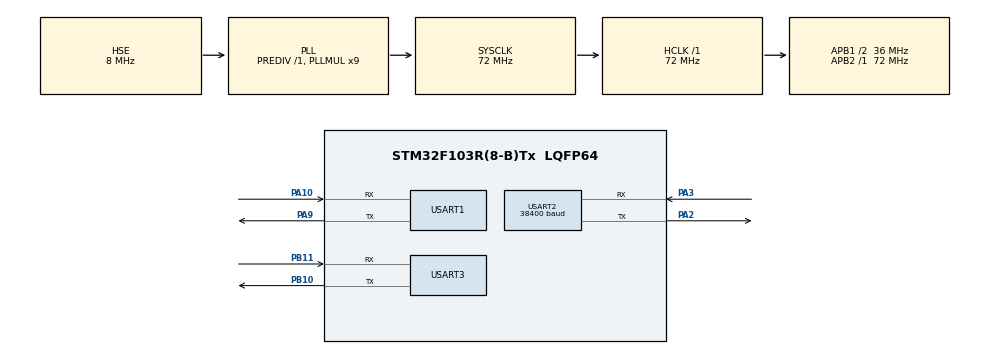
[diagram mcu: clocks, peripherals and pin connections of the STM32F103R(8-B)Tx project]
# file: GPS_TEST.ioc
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Dma.Request0=USART2_RX
Dma.Request1=USART3_RX
Dma.USART2_RX.0.Direction=DMA_PERIPH_TO_MEMORY
Dma.USART2_RX.0.Instance=DMA1_Channel6
Dma.USART2_RX.0.MemDataAlignment=DMA_MDATAALIGN_BYTE
Dma.USART2_RX.0.MemInc=DMA_MINC_ENABLE
Dma.USART2_RX.0.Mode=DMA_NORMAL
Dma.USART2_RX.0.PeriphDataAlignment=DMA_PDATAALIGN_BYTE
Dma.USART2_RX.0.PeriphInc=DMA_PINC_DISABLE
Dma.USART2_RX.0.Priority=DMA_PRIORITY_MEDIUM
Dma.USART3_RX.1.Direction=DMA_PERIPH_TO_MEMORY
Dma.USART3_RX.1.Instance=DMA1_Channel3
Dma.USART3_RX.1.MemDataAlignment=DMA_MDATAALIGN_BYTE
Dma.USART3_RX.1.MemInc=DMA_MINC_ENABLE
Dma.USART3_RX.1.Mode=DMA_NORMAL
Dma.USART3_RX.1.PeriphDataAlignment=DMA_PDATAALIGN_BYTE
Dma.USART3_RX.1.PeriphInc=DMA_PINC_DISABLE
Dma.USART3_RX.1.Priority=DMA_PRIORITY_MEDIUM
Mcu.Family=STM32F1
Mcu.Name=STM32F103R(8-B)Tx
Mcu.Package=LQFP64
NVIC.DMA1_Channel3_IRQn=true\:0\:1\:false\:false\:true\:false\:true\:true
NVIC.DMA1_Channel6_IRQn=true\:0\:2\:true\:false\:true\:false\:true\:true
NVIC.PriorityGroup=NVIC_PRIORITYGROUP_2
NVIC.USART2_IRQn=true\:1\:2\:true\:false\:true\:true\:true\:true
NVIC.USART3_IRQn=true\:1\:1\:true\:false\:true\:true\:true\:true
PA10.Mode=Asynchronous
PA10.Signal=USART1_RX
PA13.Mode=Serial_Wire
PA13.Signal=SYS_JTMS-SWDIO
PA14.Mode=Serial_Wire
PA14.Signal=SYS_JTCK-SWCLK
PA2.Mode=Asynchronous
PA2.Signal=USART2_TX
PA3.Mode=Asynchronous
PA3.Signal=USART2_RX
PA9.Mode=Asynchronous
PA9.Signal=USART1_TX
PB10.Mode=Asynchronous
PB10.Signal=USART3_TX
PB11.Mode=Asynchronous
PB11.Signal=USART3_RX
PD0-OSC_IN.Mode=HSE-External-Oscillator
PD0-OSC_IN.Signal=RCC_OSC_IN
PD1-OSC_OUT.Mode=HSE-External-Oscillator
PD1-OSC_OUT.Signal=RCC_OSC_OUT
ProjectManager.HeapSize=0x400
ProjectManager.StackSize=0x800
ProjectManager.TargetToolchain=MDK-ARM V5.32
RCC.AHBFreq_Value=72000000
RCC.APB1CLKDivider=RCC_HCLK_DIV2
RCC.APB1Freq_Value=36000000
RCC.APB1TimFreq_Value=72000000
RCC.APB2Freq_Value=72000000
RCC.APB2TimFreq_Value=72000000
RCC.HCLKFreq_Value=72000000
RCC.PLLMUL=RCC_PLL_MUL9
RCC.PLLSourceVirtual=RCC_PLLSOURCE_HSE
RCC.SYSCLKFreq_VALUE=72000000
RCC.SYSCLKSource=RCC_SYSCLKSOURCE_PLLCLK
RCC.USBFreq_Value=72000000
USART1.VirtualMode=VM_ASYNC
USART2.BaudRate=38400
USART2.VirtualMode=VM_ASYNC
USART3.VirtualMode=VM_ASYNC
board=custom

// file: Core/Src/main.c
/* USER CODE BEGIN Header */
/**
  ******************************************************************************
  * @file           : main.c
  * @brief          : Main program body
  ******************************************************************************
  * @attention
  *
  * Copyright (c) 2023 STMicroelectronics.
  * All rights reserved.
  *
  * This software is licensed under terms that can be found in the LICENSE file
  * in the root directory of this software component.
  * If no LICENSE file comes with this software, it is provided AS-IS.
  *
  ******************************************************************************
  */
/* USER CODE END Header */
#include "main.h"
#include "dma.h"
#include "usart.h"
#include "gpio.h"

void SystemClock_Config(void);

/* USER CODE BEGIN 0 */

#include<string.h>
#include "atk_mo1218.h"
#include "delay.h"

typedef struct
{
  uint8_t ret;
  atk_mo1218_time_t utc;
  atk_mo1218_position_t position;
  int16_t altitude;
  uint16_t speed;
  atk_mo1218_fix_info_t fix_info;
  atk_mo1218_visible_satellite_info_t gps_satellite_info;
  atk_mo1218_visible_satellite_info_t beidou_satellite_info;
  uint8_t satellite_index;
} user_gps_data_t;

user_gps_data_t gps_data;

uint8_t user_gps_init(void)
{
  uint8_t ret;

  /* 初始化ATK-MO1218模块 */
  ret = atk_mo1218_init(38400);  // 注意 UART 初始化已经由 CubeMX 接管，此处设置的波特率无效。
  // if (ret != 0)
  // {
  //   u1_printf("ATK-MO1218 init failed!\r\n");
  //   return 1;
  // }

  /* 配置ATK-MO1218模块 */
  ret = atk_mo1218_factory_reset(ATK_MO1218_FACTORY_RESET_REBOOT);
  ret += atk_mo1218_config_output_type(ATK_MO1218_OUTPUT_NMEA, ATK_MO1218_SAVE_SRAM);
  ret += atk_mo1218_config_nmea_msg(1, 1, 1, 1, 1, 1, 0, ATK_MO1218_SAVE_SRAM);
  ret += atk_mo1218_config_position_rate(ATK_MO1218_POSITION_RATE_1HZ, ATK_MO1218_SAVE_SRAM);
  ret += atk_mo1218_config_gnss_for_navigation(ATK_MO1218_GNSS_GPS_BEIDOU, ATK_MO1218_SAVE_SRAM);
  if (ret != 0)
  {
    u1_printf("ATK-MO1218 configure failed!\r\n");
    return 2;
  }
  return 0;
}

void user_gps_getdata(void)
{
  /* 结构体清零 */
  memset(&gps_data, 0, sizeof(gps_data));

  // TODO: 把这些下面获取到的信息保存进结构体

  uint8_t ret;
  atk_mo1218_time_t utc;
  atk_mo1218_position_t position;
  int16_t altitude;
  uint16_t speed;
  atk_mo1218_fix_info_t fix_info;
  atk_mo1218_visible_satellite_info_t gps_satellite_info = {0};
  atk_mo1218_visible_satellite_info_t beidou_satellite_info = {0};
  uint8_t satellite_index;

  /* 获取并更新ATK-MO1218模块数据 */
  ret = atk_mo1218_update(&utc, &position, &altitude, &speed, &fix_info, NULL, NULL, 5000);
  if (ret == ATK_MO1218_EOK)
  {
    u1_printf("\r\n");

    /* UTC */
    u1_printf("UTC Time: %04d-%02d-%02d %02d:%02d:%02d.%03d\r\n", utc.year, utc.month, utc.day, utc.hour, utc.minute, utc.second, utc.millisecond);

    /* 经纬度（放大了100000倍数） */
    u1_printf("Position: %d.%d'%s %d.%d'%s\r\n", position.longitude.degree / 100000, position.longitude.degree % 100000, (position.longitude.indicator == ATK_MO1218_LONGITUDE_EAST) ? "E" : "W", position.latitude.degree / 100000, position.latitude.degree % 100000, (position.latitude.indicator == ATK_MO1218_LATITUDE_NORTH) ? "N" : "S");

    /* 海拔高度（放大了10倍） */
    u1_printf("Altitude: %d.%dm\r\n", altitude / 10, altitude % 10);

    /* 速度（放大了10倍） */
    u1_printf("Speed: %d.%dKm/H\r\n", speed / 10, speed % 10);

    /* 定位质量 */
    u1_printf("Fix quality: %s\r\n", (fix_info.quality == ATK_MO1218_GPS_UNAVAILABLE) ? "Unavailable" : ((fix_info.quality == ATK_MO1218_GPS_VALID_SPS) ? "SPS mode" : "differential GPS mode"));

    /* 用于定位的卫星数量 */
    u1_printf("Satellites Used: %d\r\n", fix_info.satellite_num);

    /* 定位方式 */
    u1_printf("Fix type: %s\r\n", (fix_info.type == ATK_MO1218_FIX_NOT_AVAILABLE) ? "Unavailable" : ((fix_info.type == ATK_MO1218_FIX_2D) ? "2D" : "3D"));

    /* 用于定位的卫星编号 */
    for (satellite_index = 0; satellite_index < fix_info.satellite_num; satellite_index++)
    {
      if (satellite_index == 0)
      {
        u1_printf("Satellite ID:");
      }
      u1_printf(" %d", fix_info.satellite_id[satellite_index]);
      if (satellite_index == fix_info.satellite_num - 1)
      {
        u1_printf("\r\n");
      }
    }

    /* 位置、水平、垂直精度因子（扩大了10倍） */
    u1_printf("PDOP: %d.%d\r\n", fix_info.pdop / 10, fix_info.pdop % 10);
    u1_printf("HDOP: %d.%d\r\n", fix_info.hdop / 10, fix_info.hdop % 10);
    u1_printf("VDOP: %d.%d\r\n", fix_info.vdop / 10, fix_info.vdop % 10);

    /* 可见的GPS、北斗卫星数量 */
    u1_printf("Number of GPS visible satellite: %d\r\n", gps_satellite_info.satellite_num);
    u1_printf("Number of Beidou visible satellite: %d\r\n", beidou_satellite_info.satellite_num);

    u1_printf("\r\n");
  }
  else
  {
    /* ATK-MO1218模块未定位时，
     * 不输出NMEA协议的GSV语句，
     * 导致因获取不到可见GPS、北斗卫星的信息而超时失败，
     * 此时可将函数atk_mo1218_update()的入参gps_satellite_info和beidou_satellite_info
     * 传入NULL，从而获取未定位时的其他数据
     */
    u1_printf("(DBG) atk_mo1218_update Error\r\n");
  }
}

/* USER CODE END 0 */

int main(void)
{

  /* MCU Configuration--------------------------------------------------------*/

  /* Reset of all peripherals, Initializes the Flash interface and the Systick. */
  HAL_Init();

  /* Configure the system clock */
  SystemClock_Config();

  /* Initialize all configured peripherals */
  MX_GPIO_Init();
  MX_DMA_Init();
  MX_USART2_UART_Init();
  MX_USART3_UART_Init();
  MX_USART1_UART_Init();
  /* USER CODE BEGIN 2 */
  delay_init(72);
  u1_printf("(DBG) System Started.\r\n");
  u2_start_idle_receive();
  // user_gps_init(); // 其实不需要
  u3_start_idle_receive();

  /* USER CODE END 2 */

  /* Infinite loop */
  /* USER CODE BEGIN WHILE */
  while (1)
  {
    // user_gps_getdata();
    delay_ms(200);
    /* USER CODE END WHILE */

  }
}

void SystemClock_Config(void)
{
  RCC_OscInitTypeDef RCC_OscInitStruct = {0};
  RCC_ClkInitTypeDef RCC_ClkInitStruct = {0};

  /** Initializes the RCC Oscillators according to the specified parameters
  * in the RCC_OscInitTypeDef structure.
  */
  RCC_OscInitStruct.OscillatorType = RCC_OSCILLATORTYPE_HSE;
  RCC_OscInitStruct.HSEState = RCC_HSE_ON;
  RCC_OscInitStruct.HSEPredivValue = RCC_HSE_PREDIV_DIV1;
  RCC_OscInitStruct.HSIState = RCC_HSI_ON;
  RCC_OscInitStruct.PLL.PLLState = RCC_PLL_ON;
  RCC_OscInitStruct.PLL.PLLSource = RCC_PLLSOURCE_HSE;
  RCC_OscInitStruct.PLL.PLLMUL = RCC_PLL_MUL9;
  if (HAL_RCC_OscConfig(&RCC_OscInitStruct) != HAL_OK)
  {
    Error_Handler();
  }

  /** Initializes the CPU, AHB and APB buses clocks
  */
  RCC_ClkInitStruct.ClockType = RCC_CLOCKTYPE_HCLK|RCC_CLOCKTYPE_SYSCLK
                              |RCC_CLOCKTYPE_PCLK1|RCC_CLOCKTYPE_PCLK2;
  RCC_ClkInitStruct.SYSCLKSource = RCC_SYSCLKSOURCE_PLLCLK;
  RCC_ClkInitStruct.AHBCLKDivider = RCC_SYSCLK_DIV1;
  RCC_ClkInitStruct.APB1CLKDivider = RCC_HCLK_DIV2;
  RCC_ClkInitStruct.APB2CLKDivider = RCC_HCLK_DIV1;

  if (HAL_RCC_ClockConfig(&RCC_ClkInitStruct, FLASH_LATENCY_2) != HAL_OK)
  {
    Error_Handler();
  }
}

void Error_Handler(void)
{
  __disable_irq();
  while (1)
  {
  }
}

#ifdef  USE_FULL_ASSERT
/**
  * @brief  Reports the name of the source file and the source line number
  *         where the assert_param error has occurred.
  * @param  file: pointer to the source file name
  * @param  line: assert_param error line source number
  * @retval None
  */
void assert_failed(uint8_t *file, uint32_t line)
{
  /* USER CODE BEGIN 6 */
  /* User can add his own implementation to report the file name and line number,
     ex: u1_printf("Wrong parameters value: file %s on line %d\r\n", file, line) */
  /* USER CODE END 6 */
}
#endif /* USE_FULL_ASSERT */
